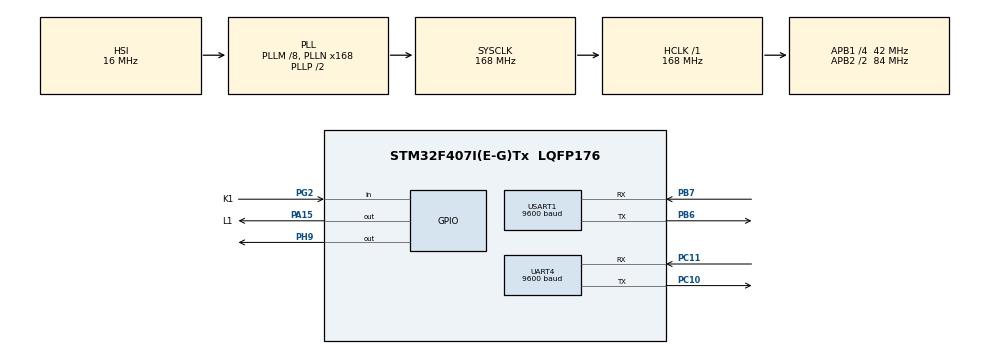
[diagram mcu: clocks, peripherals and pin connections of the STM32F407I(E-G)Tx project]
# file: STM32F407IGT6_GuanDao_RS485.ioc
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Mcu.Family=STM32F4
Mcu.Name=STM32F407I(E-G)Tx
Mcu.Package=LQFP176
NVIC.PriorityGroup=NVIC_PRIORITYGROUP_4
PA13.Mode=Serial_Wire
PA13.Signal=SYS_JTMS-SWDIO
PA14.Mode=Serial_Wire
PA14.Signal=SYS_JTCK-SWCLK
PA15.GPIO_Label=L1
PA15.GPIO_ModeDefaultOutputPP=GPIO_MODE_OUTPUT_PP
PA15.PinState=GPIO_PIN_SET
PA15.Signal=GPIO_Output
PB6.Mode=Asynchronous
PB6.Signal=USART1_TX
PB7.Mode=Asynchronous
PB7.Signal=USART1_RX
PC10.Mode=Asynchronous
PC10.Signal=UART4_TX
PC11.Mode=Asynchronous
PC11.Signal=UART4_RX
PC14-OSC32_IN.Mode=LSE-External-Oscillator
PC14-OSC32_IN.Signal=RCC_OSC32_IN
PC15-OSC32_OUT.Mode=LSE-External-Oscillator
PC15-OSC32_OUT.Signal=RCC_OSC32_OUT
PG2.GPIO_Label=K1
PG2.GPIO_PuPd=GPIO_PULLDOWN
PG2.Signal=GPIO_Input
PH0-OSC_IN.Mode=HSE-External-Oscillator
PH0-OSC_IN.Signal=RCC_OSC_IN
PH1-OSC_OUT.Mode=HSE-External-Oscillator
PH1-OSC_OUT.Signal=RCC_OSC_OUT
PH9.Signal=GPIO_Output
ProjectManager.HeapSize=0x200
ProjectManager.StackSize=0x400
ProjectManager.TargetToolchain=MDK-ARM V5.32
RCC.48MHZClocksFreq_Value=84000000
RCC.AHBFreq_Value=168000000
RCC.APB1CLKDivider=RCC_HCLK_DIV4
RCC.APB1Freq_Value=42000000
RCC.APB1TimFreq_Value=84000000
RCC.APB2CLKDivider=RCC_HCLK_DIV2
RCC.APB2Freq_Value=84000000
RCC.APB2TimFreq_Value=168000000
RCC.CortexFreq_Value=168000000
RCC.HCLKFreq_Value=168000000
RCC.HSE_VALUE=25000000
RCC.HSI_VALUE=16000000
RCC.PLLM=8
RCC.PLLN=168
RCC.SYSCLKFreq_VALUE=168000000
RCC.SYSCLKSource=RCC_SYSCLKSOURCE_PLLCLK
RCC.VCOOutputFreq_Value=336000000
UART4.BaudRate=9600
UART4.VirtualMode=Asynchronous
USART1.BaudRate=9600
USART1.VirtualMode=VM_ASYNC
board=custom

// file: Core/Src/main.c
/* USER CODE BEGIN Header */
/**
  ******************************************************************************
  * @file           : main.c
  * @brief          : Main program body
  ******************************************************************************
  * @attention
  *
  * Copyright (c) 2024 STMicroelectronics.
  * All rights reserved.
  *
  * This software is licensed under terms that can be found in the LICENSE file
  * in the root directory of this software component.
  * If no LICENSE file comes with this software, it is provided AS-IS.
  *
  ******************************************************************************
  */
/* USER CODE END Header */
#include "main.h"
#include "usart.h"
#include "gpio.h"

/* USER CODE BEGIN Includes */
#include <stdio.h>
/* USER CODE END Includes */

/* USER CODE BEGIN PTD */

/*USART号、时钟、波特率*/
#define _485_USART                             UART4
#define _485_USART_CLK_ENABLE()                __UART4_CLK_ENABLE();
#define _485_USART_BAUDRATE                    115200

#define RCC_PERIPHCLK_485_USART                RCC_PERIPHCLK_UART4
#define RCC_485_USARTCLKSOURCE_SYSCLK          RCC_USART4CLKSOURCE_SYSCLK
/*RX引脚*/
#define _485_USART_RX_GPIO_PORT                GPIOC
#define _485_USART_RX_GPIO_CLK_ENABLE()        __GPIOC_CLK_ENABLE()
#define _485_USART_RX_PIN                      GPIO_PIN_11
#define _485_USART_RX_AF                       GPIO_AF8_UART4
/*TX引脚*/
#define _485_USART_TX_GPIO_PORT                GPIOC
#define _485_USART_TX_GPIO_CLK_ENABLE()        __GPIOC_CLK_ENABLE()
#define _485_USART_TX_PIN                      GPIO_PIN_10
#define _485_USART_TX_AF                       GPIO_AF8_UART4
/*485收发控制引脚*/
#define _485_RE_GPIO_PORT					   GPIOH
#define _485_RE_GPIO_CLK_ENABLE()              __GPIOH_CLK_ENABLE()
#define _485_RE_PIN							   GPIO_PIN_9
/*中断相关*/
#define _485_INT_IRQ                 		   UART4_IRQn
#define bsp_485_IRQHandler                     UART4_IRQHandler

/* USER CODE END PTD */

/* USER CODE BEGIN PD */

// 不精确的延时
static void _485_delay(__IO uint32_t nCount)
{
	for(; nCount != 0; nCount--);
}
/*控制收发引脚*/
//进入接收模式,必须要有延时等待485处理完数据
#define _485_RX_EN()			_485_delay(1000);\
		HAL_GPIO_WritePin(_485_RE_GPIO_PORT,_485_RE_PIN,GPIO_PIN_SET); _485_delay(1000);
//进入发送模式,必须要有延时等待485处理完数据
#define _485_TX_EN()			_485_delay(1000);\
		HAL_GPIO_WritePin(_485_RE_GPIO_PORT,_485_RE_PIN,GPIO_PIN_RESET); _485_delay(1000);

/* USER CODE END PD */

void SystemClock_Config(void);

int main(void)
{

  /* USER CODE BEGIN 1 */
		uint8_t GuanDao_Data[110] ={0xAA, 0x55, 0x5A, 0xA5, 0x4A, 0x6E, 0xAA, 0xAA, 0xAA, 0xAA, 0xBB, 0xBB, 0xBB, 0xBB, 0x1D, 0x3E, 0x00, 0x00, 0x00,
																0x00, 0xE2, 0x01, 0x8C, 0x00, 0xEA, 0x56, 0xCC, 0xCC, 0xDD, 0xDD, 0xEE, 0xEE, 0x10, 0x52, 0x67, 0x0A, 0xB3, 0x1A,
																0x5E, 0x4A, 0xD2, 0x56, 0x1A, 0x3E, 0x00, 0x00, 0xF7, 0x01, 0x05, 0x07, 0x01, 0x00, 0x00, 0x00, 0x00, 0x00, 0x00,
																0x00, 0x00, 0x00, 0x00, 0x00, 0x93, 0x30, 0xF7, 0xFF, 0xF4, 0x30, 0x69, 0x00, 0x52, 0xA7, 0xFE, 0xFF, 0xF9, 0x6A,
																0x19, 0x00, 0x64, 0x83, 0x21, 0x00, 0xDB, 0x65, 0x1E, 0xFA, 0x23, 0x07, 0x00, 0x34, 0xFF, 0xFF, 0xFF, 0x11, 0x11,
																0x11, 0x22, 0x22, 0x00, 0x00, 0x00, 0x00, 0x00, 0x00, 0x00, 0x00, 0x00, 0x00, 0x10, 0x24};
		uint8_t CX_Data[60] ={0x4C, 0x57, 0x3C, 0x00, 0x01, 0x00, 0x01, 0x01,
													0xFF, 0xFF, 0xFF, 0xFF, 0xFF, 0xFF, 0xFF, 0xFF, 0xFF, 0xFF, 0xFF, 0xFF, 0xFF, 0xFF, 0xFF, 0xFF,
													0xFF, 0xFF, 0xFF, 0xFF, 0xFF, 0xFF, 0xFF, 0xFF, 0xFF, 0xFF, 0xFF, 0xFF, 0xFF, 0xFF, 0xFF, 0xFF,
													0xFF, 0xFF, 0xFF, 0xFF, 0xFF, 0xFF, 0xFF, 0xFF, 0xFF, 0xFF, 0xFF, 0xFF, 0xFF, 0xFF, 0xFF, 0xFF,
													0x00, 0x00, 0x0D, 0x0A};
  /* USER CODE END 1 */

  /* MCU Configuration--------------------------------------------------------*/

  /* Reset of all peripherals, Initializes the Flash interface and the Systick. */
  HAL_Init();

  /* Configure the system clock */
  SystemClock_Config();

  /* Initialize all configured peripherals */
  MX_GPIO_Init();
  MX_UART4_Init();
  MX_USART1_UART_Init();
  /* USER CODE BEGIN 2 */
	HAL_Delay(1000);
  /* USER CODE END 2 */

  /* Infinite loop */
  /* USER CODE BEGIN WHILE */

  while (1)
  {
    uint8_t key = ScanKey();
		SetLeds(key);
		//if(key)
			//{
				//printf("%02X\n",key);
				//HAL_Delay(100);
			//}
    /* USER CODE END WHILE */

    /* USER CODE BEGIN 3 */

		_485_TX_EN();
		HAL_UART_Transmit(&huart4, (uint8_t *)&CX_Data, 60, 0xffff);
		//for(int i = 0; i < 110; i ++)
		//{
			//HAL_UART_Transmit(&huart4, (uint8_t *)&GuanDao_Data[i], 1, 0xffff);
		//}

		HAL_UART_Transmit(&huart1, (uint8_t *)&GuanDao_Data, 110, 0xffff);

		_485_RX_EN();
		HAL_Delay(1000);
  }
  /* USER CODE END 3 */
}

void SystemClock_Config(void)
{
  RCC_OscInitTypeDef RCC_OscInitStruct = {0};
  RCC_ClkInitTypeDef RCC_ClkInitStruct = {0};

  /** Configure the main internal regulator output voltage
  */
  __HAL_RCC_PWR_CLK_ENABLE();
  __HAL_PWR_VOLTAGESCALING_CONFIG(PWR_REGULATOR_VOLTAGE_SCALE1);

  /** Initializes the RCC Oscillators according to the specified parameters
  * in the RCC_OscInitTypeDef structure.
  */
  RCC_OscInitStruct.OscillatorType = RCC_OSCILLATORTYPE_HSI;
  RCC_OscInitStruct.HSIState = RCC_HSI_ON;
  RCC_OscInitStruct.HSICalibrationValue = RCC_HSICALIBRATION_DEFAULT;
  RCC_OscInitStruct.PLL.PLLState = RCC_PLL_ON;
  RCC_OscInitStruct.PLL.PLLSource = RCC_PLLSOURCE_HSI;
  RCC_OscInitStruct.PLL.PLLM = 8;
  RCC_OscInitStruct.PLL.PLLN = 168;
  RCC_OscInitStruct.PLL.PLLP = RCC_PLLP_DIV2;
  RCC_OscInitStruct.PLL.PLLQ = 4;
  if (HAL_RCC_OscConfig(&RCC_OscInitStruct) != HAL_OK)
  {
    Error_Handler();
  }

  /** Initializes the CPU, AHB and APB buses clocks
  */
  RCC_ClkInitStruct.ClockType = RCC_CLOCKTYPE_HCLK|RCC_CLOCKTYPE_SYSCLK
                              |RCC_CLOCKTYPE_PCLK1|RCC_CLOCKTYPE_PCLK2;
  RCC_ClkInitStruct.SYSCLKSource = RCC_SYSCLKSOURCE_PLLCLK;
  RCC_ClkInitStruct.AHBCLKDivider = RCC_SYSCLK_DIV1;
  RCC_ClkInitStruct.APB1CLKDivider = RCC_HCLK_DIV4;
  RCC_ClkInitStruct.APB2CLKDivider = RCC_HCLK_DIV2;

  if (HAL_RCC_ClockConfig(&RCC_ClkInitStruct, FLASH_LATENCY_5) != HAL_OK)
  {
    Error_Handler();
  }
}

void Error_Handler(void)
{
  __disable_irq();
  while (1)
  {
  }
}
